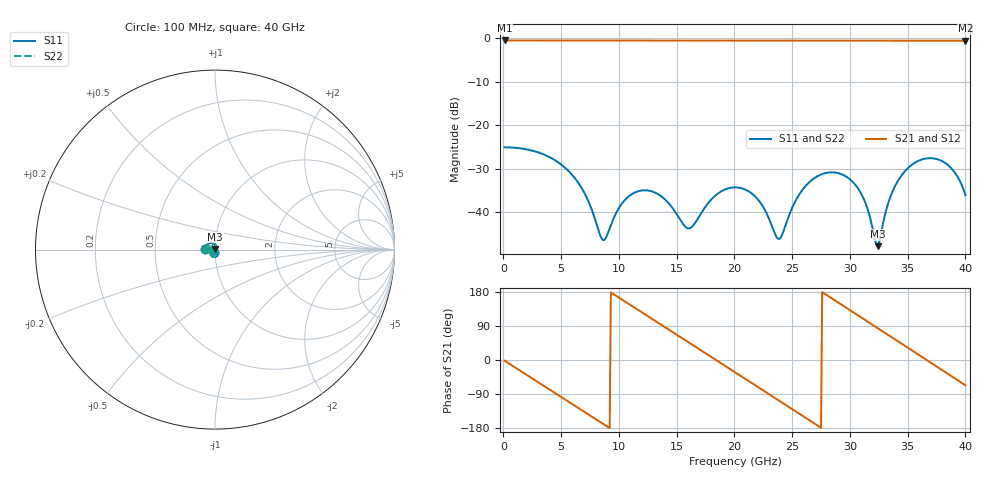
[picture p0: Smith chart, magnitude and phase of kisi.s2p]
! T_ts6_ms_10: Microstrip L1, ThunderScope stack, w 0.265 mm, 10 mm
! stackup: ThunderScope Rev5.3 6-layer (FR408HR / FR-4, from the board file)
! ports: 1 near A, 2 far A
! kisi-fdtd, conformal, dfine 0.035 mm, 407456 cells
# Hz S RI R 50
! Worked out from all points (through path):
!   400 points, 100 MHz to 40 GHz, reference 50 ohm
!   highest |S21| = -0.50 dB at 100 MHz (marker M1); lowest = -0.6 dB at 40 GHz (marker M2)
!   group delay of S21, straight-line fit = 54.6 ps
!   lowest |S11| = -47.7 dB at 32.4 GHz (marker M3), VSWR 1.01, Z = 50.1 + j0.402 ohm
!   |S11| at or under -10 dB: start of sweep to end of sweep
!   |S22| runs from -47.7 to -25.0 dB; largest |S21 - S12| = 0
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1e8  -0.056 0.00132  0.9431 -0.0322  0.9431 -0.0322  -0.056 0.00132
1.8e9  -0.0487 0.0225  0.7712 -0.5433  0.7712 -0.5433  -0.0487 0.0225
3.7e9  -0.0269 0.0362  0.2873 -0.898  0.2873 -0.898  -0.0269 0.0362
6.8e9  0.00723 0.0173  -0.6399 -0.6916  -0.6399 -0.6916  0.00723 0.0173
8.7e9  0.00338 -0.00344  -0.9275 -0.1654  -0.9275 -0.1654  0.00338 -0.00344
1.08e10  -0.0137 -0.00646  -0.8079 0.4843  -0.8079 0.4843  -0.0137 -0.00646
1.34e10  -0.0127 0.01  -0.1341 0.932  -0.1341 0.932  -0.0127 0.01
1.59e10  0.00563 0.00353  0.6148 0.7127  0.6148 0.7127  0.00563 0.00353
1.71e10  0.00638 -0.00734  0.848 0.408  0.848 0.408  0.00638 -0.00734
2.01e10  -0.0144 -0.0131  0.7872 -0.5148  0.7872 -0.5148  -0.0144 -0.0131
2.21e10  -0.0136 0.00217  0.2829 -0.8968  0.2829 -0.8968  -0.0136 0.00217
2.39e10  0.00261 0.00426  -0.2891 -0.8945  -0.2891 -0.8945  0.00261 0.00426
2.67e10  0.00727 -0.0224  -0.8989 -0.2732  -0.8989 -0.2732  0.00727 -0.0224
2.84e10  -0.0104 -0.027  -0.8998 0.2691  -0.8998 0.2691  -0.0104 -0.027
3.02e10  -0.0202 -0.0105  -0.5753 0.7419  -0.5753 0.7419  -0.0202 -0.0105
3.13e10  -0.0133 0.000776  -0.2592 0.9021  -0.2592 0.9021  -0.0133 0.000776
3.24e10  0.000877 0.00401  0.0938 0.9337  0.0938 0.9337  0.000877 0.00401
3.34e10  0.0135 -0.00298  0.4046 0.8465  0.4046 0.8465  0.0135 -0.00298
3.48e10  0.0187 -0.0236  0.7521 0.5605  0.7521 0.5605  0.0187 -0.0236
3.67e10  -0.0036 -0.0417  0.9375 -0.0168  0.9375 -0.0168  -0.0036 -0.0417
3.86e10  -0.0251 -0.023  0.7303 -0.5874  0.7303 -0.5874  -0.0251 -0.023
4e10  -0.0157 -0.00232  0.3707 -0.8603  0.3707 -0.8603  -0.0157 -0.00232
